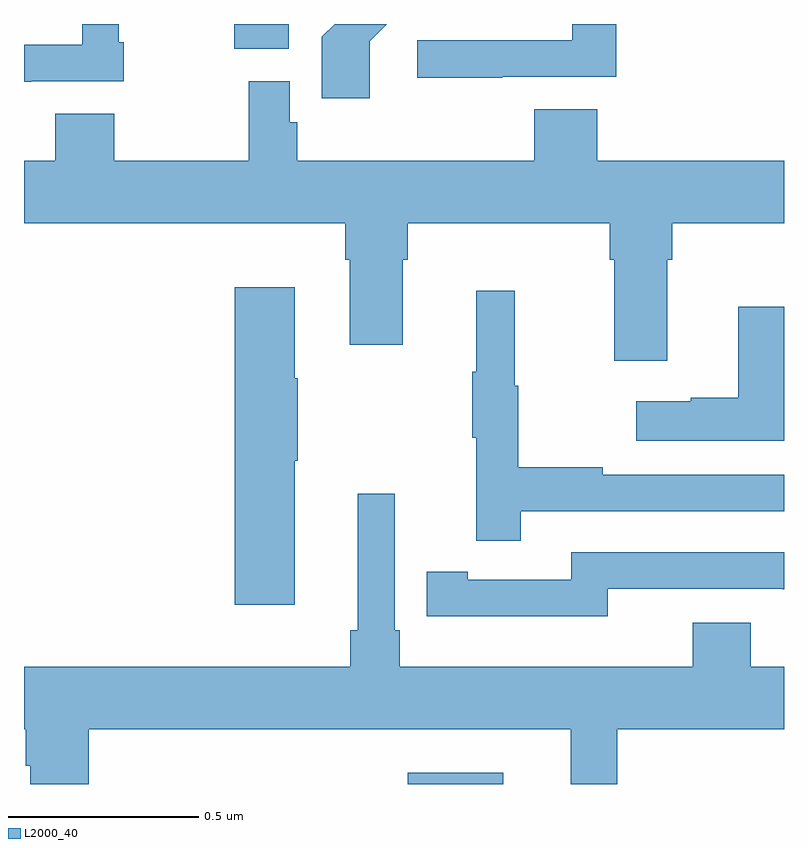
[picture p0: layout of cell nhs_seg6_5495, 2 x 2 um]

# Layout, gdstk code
import gdstk
lib = gdstk.Library(unit=1e-6, precision=1e-09)
def R(c, l, rs):  # rectangles x0, y0, x1, y1
    for r in rs: c.add(gdstk.rectangle(r[:2], r[2:], *l))
def P(c, l, *ps):  # polygons
    for p in ps: c.add(gdstk.Polygon(p, *l))
L2000_40 = (2000, 40)

nhs_seg6_5495 = lib.new_cell('nhs_seg6_5495')
R(nhs_seg6_5495, L2000_40, [(184.01,972.5,184.261,972.529), (183.553,974.435,183.697,974.5)])
P(nhs_seg6_5495, L2000_40, [(184.259,974.361),(184.559,974.361),(184.559,974.5),(184.443,974.5),(184.443,974.457),(184.035,974.457),(184.035,974.359),(184.259,974.359)],
  [(183.019,974.349),(183.262,974.349),(183.262,974.452),(183.249,974.452),(183.249,974.5),(183.153,974.5),(183.153,974.446),(183,974.446),(183,974.348),(183.019,974.348)],
  [(183.91,974.455),(183.955,974.5),(183.818,974.5),(183.784,974.466),(183.784,974.304),(183.91,974.304)],
  [(184.693,973.88),(184.706,973.88),(184.706,973.976),(185,973.976),(185,974.14),(184.508,974.14),(184.508,974.276),(184.343,974.276),(184.343,974.14),(183.719,974.14),(183.719,974.241),(183.699,974.241),(183.699,974.35),(183.591,974.35),(183.591,974.14),(183.237,974.14),(183.237,974.264),(183.082,974.264),(183.082,974.14),(183,974.14),(183,973.976),(183.845,973.976),(183.845,973.88),(183.857,973.88),(183.857,973.656),(183.997,973.656),(183.997,973.88),(184.01,973.88),(184.01,973.976),(184.541,973.976),(184.541,973.88),(184.553,973.88),(184.553,973.614),(184.693,973.614)],
  [(183.712,973.351),(183.72,973.351),(183.72,973.568),(183.712,973.568),(183.712,973.807),(183.554,973.807),(183.554,972.972),(183.712,972.972)],
  [(184.307,973.218),(185,973.218),(185,973.314),(184.523,973.314),(184.523,973.334),(184.3,973.334),(184.3,973.548),(184.292,973.548),(184.292,973.798),(184.19,973.798),(184.19,973.585),(184.179,973.585),(184.179,973.411),(184.19,973.411),(184.19,973.14),(184.307,973.14)],
  [(185,973.756),(184.88,973.756),(184.88,973.517),(184.754,973.517),(184.754,973.507),(184.611,973.507),(184.611,973.403),(185,973.403)],
  [(183.17,972.644),(184.439,972.644),(184.439,972.5),(184.561,972.5),(184.561,972.644),(185,972.644),(185,972.808),(184.913,972.808),(184.913,972.925),(184.76,972.925),(184.76,972.808),(183.989,972.808),(183.989,972.904),(183.975,972.904),(183.975,973.264),(183.878,973.264),(183.878,972.904),(183.859,972.904),(183.859,972.808),(183,972.808),(183,972.644),(183.005,972.644),(183.005,972.548),(183.017,972.548),(183.017,972.5),(183.17,972.5)],
  [(184.536,973.014),(184.996,973.014),(184.996,973.013),(185,973.013),(185,973.11),(184.44,973.11),(184.44,973.038),(184.168,973.038),(184.168,973.058),(184.06,973.058),(184.06,972.942),(184.168,972.942),(184.168,972.941),(184.536,972.941)])

lib.write_gds('nhs_seg6_5495.gds')
